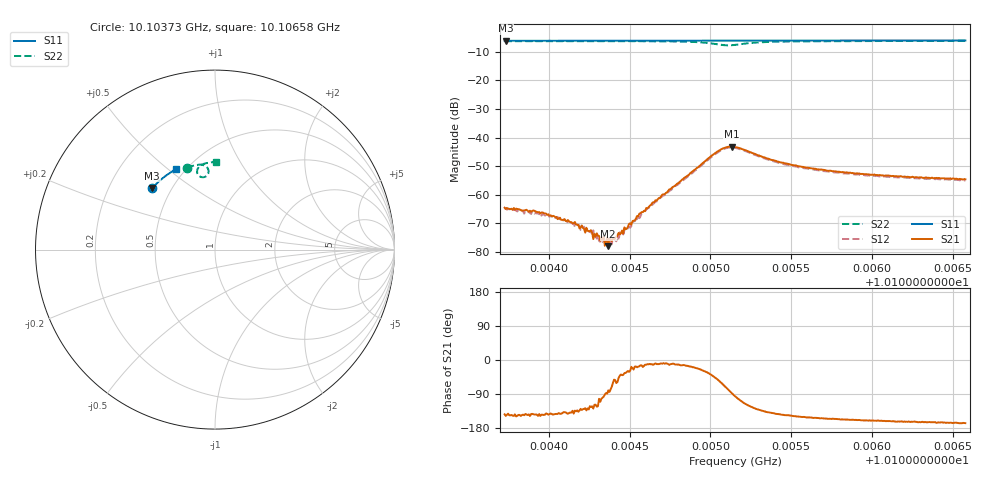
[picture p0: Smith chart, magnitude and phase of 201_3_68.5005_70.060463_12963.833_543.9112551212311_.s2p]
#  HZ  S  RI  R  50.00
! Rohde & Schwarz Vector Network Analyzer
! Rohde-Schwarz,ZNB20-2Port,1311601062101988,3.16
! Created: UTC 3/20/2024, 5:12:46 PM
! freq[Hz]  re:S11  im:S11  re:S21  im:S21  re:S12  im:S12  re:S22  im:S22
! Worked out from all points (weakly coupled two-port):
!   401 points, 10.10373 GHz to 10.10658 GHz, reference 50 ohm
!   highest |S21| = -43.20 dB at 10.10513 GHz (marker M1); lowest = -78.0 dB at 10.10437 GHz (marker M2)
!   lowest |S11| = -6.2 dB at 10.10373 GHz (marker M3), VSWR 2.92, Z = 19.6 + j17.7 ohm
!   |S11| at or under -10 dB: nowhere
!   |S22| runs from -7.8 to -6.2 dB; largest |S21 - S12| = 0.00072
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1.0103726e10  -0.3503 0.3428  -0.000475 -0.000352  -0.000428 -0.000355  -0.1555 0.4565
1.0103733e10  -0.3499 0.3429  -0.000473 -0.000302  -0.000449 -0.000374  -0.1551 0.4566
1.0103969e10  -0.3401 0.3536  -0.000387 -0.000272  -0.000353 -0.000273  -0.1396 0.4621
1.0104047e10  -0.3368 0.3571  -0.000324 -0.00025  -0.000284 -0.000273  -0.1342 0.4637
1.0104168e10  -0.3317 0.3623  -0.000214 -0.000211  -0.000192 -0.000207  -0.1257 0.4662
1.0104204e10  -0.3302 0.364  -0.000192 -0.000216  -0.000144 -0.000198  -0.123 0.467
1.0104261e10  -0.3275 0.3662  -0.000134 -0.000199  -0.000131 -0.000193  -0.1189 0.4681
1.0104325e10  -0.3249 0.369  -3.82e-05 -0.000177  -2.9e-05 -0.000166  -0.1141 0.4693
1.0104353e10  -0.3237 0.3702  6.77e-06 -0.000151  1.06e-05 -0.000134  -0.1117 0.4699
1.0104368e10  -0.323 0.3707  2.11e-05 -0.000124  3.25e-05 -0.000137  -0.1107 0.47
1.0104418e10  -0.3209 0.3729  9.04e-05 -0.000162  7.86e-05 -0.000132  -0.1067 0.4709
1.0104475e10  -0.3182 0.3754  0.000206 -0.00014  0.000217 -0.000112  -0.1018 0.4717
1.010456e10  -0.3144 0.3788  0.000448 -0.000132  0.00038 -8.03e-05  -0.0943 0.4728
1.0104681e10  -0.3089 0.3836  0.000857 -0.000164  0.000846 -6.69e-05  -0.082 0.4734
1.0105031e10  -0.2925 0.397  0.00366 -0.00394  0.00385 -0.00341  -0.0363 0.4297
1.0105081e10  -0.2901 0.3989  0.00266 -0.00594  0.00309 -0.00542  -0.0484 0.4096
1.010513e10  -0.288 0.4004  0.000351 -0.00691  0.001 -0.0066  -0.0734 0.4035
1.0105152e10  -0.2868 0.4013  -0.000646 -0.00678  -4.38e-05 -0.00658  -0.0836 0.407
1.0105423e10  -0.2739 0.4114  -0.00299 -0.00226  -0.0027 -0.00239  -0.0837 0.4664
1.0105629e10  -0.2638 0.4187  -0.00255 -0.00135  -0.00232 -0.0015  -0.0634 0.4773
1.0106107e10  -0.2395 0.4346  -0.00204 -0.000697  -0.00186 -0.000828  -0.0258 0.4857
1.0106577e10  -0.2146 0.4484  -0.00181 -0.000431  -0.00168 -0.000578  0.00704 0.4884
